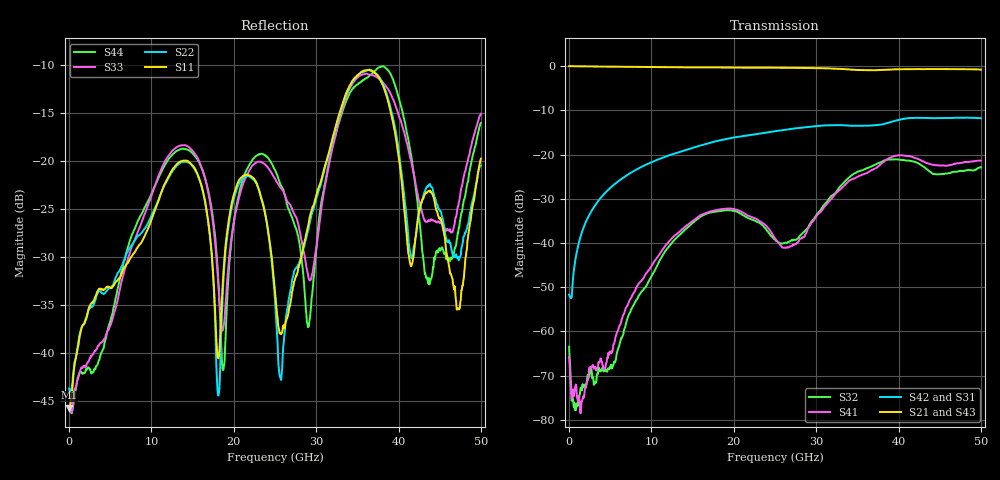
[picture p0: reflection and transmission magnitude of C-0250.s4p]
! MARKI MICROWAVE INC.
! Email:  info@markimicrowave.com  Phone:  408-778-4200
! Model Number:  C-0250  Date:  09/13
! Filename:		C-0250.S4P  Version: 1.0
! Description:  4-port S-parameter data for Coupler C-0250
! Frequency Range: 	10 MHz to 50 GHz
! Port Configuration:	PORT 1: Input
!  PORT 2: Output
!  Port 3: Coupled
!  Port 4: Isolated
! S4P File: Measurements: Mag<S11> Ang<S11> Mag<S12> Ang<S12> Mag<S13> Ang<S13> Mag<S14> Ang<S14>! row 1
!  Mag<S21> Ang<S21> Mag<S22> Ang<S22> Mag<S23> Ang<S23> Mag<S24> Ang<S24>! row 2
!  Mag<S31> Ang<S31> Mag<S32> Ang<S32> Mag<S33> Ang<S33> Mag<S34> Ang<S34>! row 3
!  Mag<S41> Ang<S41> Mag<S42> Ang<S42> Mag<S43> Ang<S43> Mag<S44> Ang<S44>! row 4
# Hz S  dB  R 50
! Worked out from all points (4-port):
!   801 points, 10 MHz to 50 GHz, reference 50 ohm
!   strongest paths, dB at 10 MHz, 12.51 GHz, 25 GHz, 37.5 GHz, 50 GHz:
!     S21: 0.0, -0.2, -0.4, -0.9, -0.8
!     S43: -0.1, -0.3, -0.4, -1.3, -0.9
!     S42: -51.7, -20.0, -14.7, -13.3, -11.8
!     S31: -54.7, -20.0, -14.8, -13.5, -12.0
!     S41: -65.8, -38.9, -39.0, -22.7, -21.4
!     S32: -63.5, -39.9, -39.3, -22.0, -22.9
!   lowest |S11| = -45.7 dB at 10 MHz (marker M1), VSWR 1.01, Z = 50.1 + j0.508 ohm
!   |S11| at or under -10 dB: start of sweep to end of sweep
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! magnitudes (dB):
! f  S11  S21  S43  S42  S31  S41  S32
! 10 MHz  -45.7  0.0  -0.1  -51.7  -54.7  -65.8  -63.5
! 9.133 GHz  -27.9  -0.2  -0.2  -22.5  -22.5  -47.6  -50.3
! 18.69 GHz  -32.3  -0.3  -0.3  -16.6  -16.7  -32.3  -32.7
! 22.57 GHz  -22.0  -0.4  -0.4  -15.4  -15.5  -34.4  -35.0
! 25.63 GHz  -38.0  -0.4  -0.4  -14.6  -14.6  -40.5  -40.1
! 35.07 GHz  -11.0  -0.9  -0.9  -13.5  -13.6  -25.0  -23.9
! 50 GHz  -19.7  -0.8  -0.9  -11.8  -12.0  -21.4  -22.9
